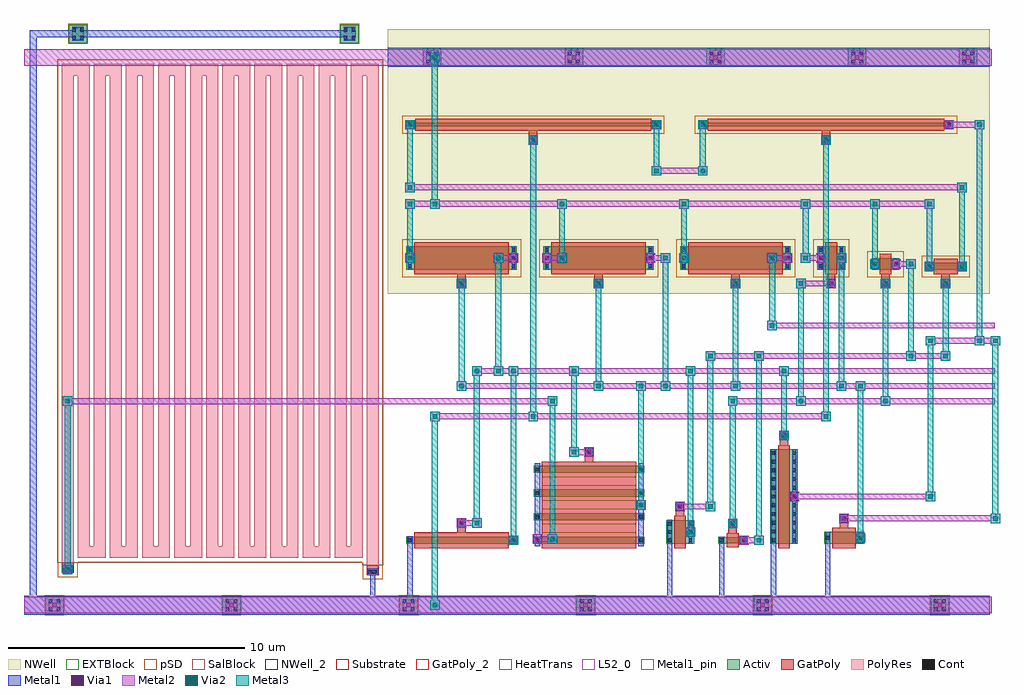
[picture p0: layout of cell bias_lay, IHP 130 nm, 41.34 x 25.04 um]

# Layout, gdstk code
import gdstk
lib = gdstk.Library(unit=1e-6, precision=1e-09)
def R(c, l, rs):  # rectangles x0, y0, x1, y1
    for r in rs: c.add(gdstk.rectangle(r[:2], r[2:], *l))
def A(c, l, x, y, w, h, nx, ny, dx, dy):  # array of equal rectangles
    R(c, l, [(x+i*dx, y+j*dy, x+i*dx+w, y+j*dy+h) for i in range(nx) for j in range(ny)])
Activ = (1, 0)
GatPoly = (5, 0)
GatPoly_2 = (5, 2)
Cont = (6, 0)
Metal1 = (8, 0)
Metal1_pin = (8, 2)
Metal2 = (10, 0)
pSD = (14, 0)
Via1 = (19, 0)
SalBlock = (28, 0)
Via2 = (29, 0)
Metal3 = (30, 0)
NWell = (31, 0)
NWell_2 = (31, 2)
Substrate = (40, 0)
HeatTrans = (51, 0)
L52_0 = (52, 0)
EXTBlock = (111, 0)
PolyRes = (128, 0)

rppd = lib.new_cell('rppd')
R(rppd, GatPoly, [(12.92,-0.53,13.42,-0.3), (0,-0.43,0.5,-0.2), (12.92,-0.3,13.42,-0.1), (0,-0.2,0.5,0)])
R(rppd, Cont, [(12.99,-0.46,13.35,-0.3), (0.07,-0.36,0.43,-0.2)])
R(rppd, Metal1, [(12.94,-0.53,13.4,-0.23), (0.02,-0.43,0.48,-0.13)])
R(rppd, Metal1_pin, [(12.94,-0.53,13.4,-0.23), (0.02,-0.43,0.48,-0.13)])
R(rppd, pSD, [(12.74,-0.71,13.6,-0.1), (-0.18,-0.61,0.68,0.02), (12.74,-0.1,13.6,0.02), (-0.18,0.02,13.6,21.305)])
R(rppd, SalBlock, [(12.72,-0.1,13.62,0), (-0.2,0,13.62,21.325)])
A(rppd, L52_0, 0.68, 0.2, 1.18, 0.5, 9, 1, 1.36, 0)
A(rppd, L52_0, 0.68, 0.7, 0.5, 19.925, 18, 1, 0.68, 0)
A(rppd, L52_0, 0, 20.625, 1.18, 0.5, 10, 1, 1.36, 0)
R(rppd, L52_0, [(12.92,-0.1,13.42,20.625), (0,0,0.5,20.625)])
R(rppd, EXTBlock, [(12.74,-0.71,13.6,-0.1), (-0.18,-0.61,0.68,0), (12.72,-0.1,13.62,0), (-0.2,0,13.62,21.325)])
A(rppd, PolyRes, 0.68, 0.2, 1.18, 0.5, 9, 1, 1.36, 0)
A(rppd, PolyRes, 0.68, 0.7, 0.5, 19.925, 18, 1, 0.68, 0)
A(rppd, PolyRes, 0, 20.625, 1.18, 0.5, 10, 1, 1.36, 0)
R(rppd, PolyRes, [(12.92,-0.1,13.42,20.625), (0,0,0.5,20.625)])
rppd.add(gdstk.Label('rppd r=212771.450', (0.25,9.963), layer=63, texttype=0))
rppd.add(gdstk.Label('rppd', (0.25,10.313), layer=52, texttype=0))
rppd.add(gdstk.Label('rppd', (0.59,20.875), layer=52, texttype=0))
rppd.add(gdstk.Label('rppd', (0.93,10.663), layer=52, texttype=0))
rppd.add(gdstk.Label('rppd', (1.27,0.45), layer=52, texttype=0))
rppd.add(gdstk.Label('rppd', (1.61,10.663), layer=52, texttype=0))
rppd.add(gdstk.Label('rppd', (1.95,20.875), layer=52, texttype=0))
rppd.add(gdstk.Label('rppd', (2.29,10.663), layer=52, texttype=0))
rppd.add(gdstk.Label('rppd', (2.63,0.45), layer=52, texttype=0))
rppd.add(gdstk.Label('rppd', (2.97,10.663), layer=52, texttype=0))
rppd.add(gdstk.Label('rppd', (3.31,20.875), layer=52, texttype=0))
rppd.add(gdstk.Label('rppd', (3.65,10.663), layer=52, texttype=0))
rppd.add(gdstk.Label('rppd', (3.99,0.45), layer=52, texttype=0))
rppd.add(gdstk.Label('rppd', (4.33,10.663), layer=52, texttype=0))
rppd.add(gdstk.Label('rppd', (4.67,20.875), layer=52, texttype=0))
rppd.add(gdstk.Label('rppd', (5.01,10.663), layer=52, texttype=0))
rppd.add(gdstk.Label('rppd', (5.35,0.45), layer=52, texttype=0))
rppd.add(gdstk.Label('rppd', (5.69,10.663), layer=52, texttype=0))
rppd.add(gdstk.Label('rppd', (6.03,20.875), layer=52, texttype=0))
rppd.add(gdstk.Label('rppd', (6.37,10.663), layer=52, texttype=0))
rppd.add(gdstk.Label('rppd', (6.71,0.45), layer=52, texttype=0))
rppd.add(gdstk.Label('rppd', (7.05,10.663), layer=52, texttype=0))
rppd.add(gdstk.Label('rppd', (7.39,20.875), layer=52, texttype=0))
rppd.add(gdstk.Label('rppd', (7.73,10.663), layer=52, texttype=0))
rppd.add(gdstk.Label('rppd', (8.07,0.45), layer=52, texttype=0))
rppd.add(gdstk.Label('rppd', (8.41,10.663), layer=52, texttype=0))
rppd.add(gdstk.Label('rppd', (8.75,20.875), layer=52, texttype=0))
rppd.add(gdstk.Label('rppd', (9.09,10.663), layer=52, texttype=0))
rppd.add(gdstk.Label('rppd', (9.43,0.45), layer=52, texttype=0))
rppd.add(gdstk.Label('rppd', (9.77,10.663), layer=52, texttype=0))
rppd.add(gdstk.Label('rppd', (10.11,20.875), layer=52, texttype=0))
rppd.add(gdstk.Label('rppd', (10.45,10.663), layer=52, texttype=0))
rppd.add(gdstk.Label('rppd', (10.79,0.45), layer=52, texttype=0))
rppd.add(gdstk.Label('rppd', (11.13,10.663), layer=52, texttype=0))
rppd.add(gdstk.Label('rppd', (11.47,20.875), layer=52, texttype=0))
rppd.add(gdstk.Label('rppd', (11.81,10.663), layer=52, texttype=0))
rppd.add(gdstk.Label('rppd', (12.15,0.45), layer=52, texttype=0))
rppd.add(gdstk.Label('rppd', (12.49,10.663), layer=52, texttype=0))
rppd.add(gdstk.Label('rppd', (12.83,20.875), layer=52, texttype=0))
rppd.add(gdstk.Label('rppd', (13.17,10.262), layer=52, texttype=0))

nmos = lib.new_cell('nmos')
R(nmos, Activ, [(0,0,0.3,0.3), (0,0,4.68,0.3), (4.38,0,4.68,0.3)])
R(nmos, GatPoly, [(0.34,-0.18,4.34,0.48)])
R(nmos, GatPoly_2, [(0.34,-0.18,4.34,0.48)])
R(nmos, Cont, [(0.07,0.07,0.23,0.23), (4.45,0.07,4.61,0.23)])
R(nmos, Metal1, [(0.07,0,0.23,0.3), (4.45,0,4.61,0.3)])
R(nmos, Metal1_pin, [(0.07,0,0.23,0.3), (4.45,0,4.61,0.3)])
R(nmos, HeatTrans, [(0.34,-0.18,4.34,0.48)])
nmos.add(gdstk.Label('nmos', (2.34,0.15), layer=63, texttype=0))
nmos.add(gdstk.Label('nmos', (2.34,0.15), layer=51, texttype=0))

nmos_1 = lib.new_cell('nmos$1')
R(nmos_1, Activ, [(0,0,0.3,0.3), (0,0,1.18,1), (0.88,0,1.18,0.3)])
R(nmos_1, GatPoly, [(0.34,-0.18,0.84,1.18)])
R(nmos_1, GatPoly_2, [(0.34,-0.18,0.84,1.18)])
A(nmos_1, Cont, 0.07, 0.07, 0.16, 0.16, 1, 3, 0, 0.35)
A(nmos_1, Cont, 0.95, 0.07, 0.16, 0.16, 1, 3, 0, 0.35)
R(nmos_1, Metal1, [(0.07,0,0.23,1), (0.95,0,1.11,1)])
R(nmos_1, Metal1_pin, [(0.07,0,0.23,1), (0.95,0,1.11,1)])
R(nmos_1, HeatTrans, [(0.34,-0.18,0.84,1.18)])
nmos_1.add(gdstk.Label('nmos', (0.59,0.5), layer=63, texttype=0))
nmos_1.add(gdstk.Label('nmos', (0.59,0.5), layer=51, texttype=0))

nmos_2 = lib.new_cell('nmos$2')
R(nmos_2, Activ, [(0,0,0.3,0.3), (0.94,0,1.24,0.3), (0,0.025,1.24,0.275)])
R(nmos_2, GatPoly, [(0.37,-0.155,0.87,0.455)])
R(nmos_2, GatPoly_2, [(0.37,-0.155,0.87,0.455)])
R(nmos_2, Cont, [(0.07,0.07,0.23,0.23), (1.01,0.07,1.17,0.23)])
R(nmos_2, Metal1, [(0.07,0.02,0.23,0.28), (1.01,0.02,1.17,0.28)])
R(nmos_2, Metal1_pin, [(0.07,0.02,0.23,0.28), (1.01,0.02,1.17,0.28)])
R(nmos_2, HeatTrans, [(0.37,-0.155,0.87,0.455)])
nmos_2.add(gdstk.Label('nmos', (0.62,0.15), layer=63, texttype=0))
nmos_2.add(gdstk.Label('nmos', (0.62,0.15), layer=51, texttype=0))

nmos_3 = lib.new_cell('nmos$3')
R(nmos_3, Activ, [(0,0,0.3,0.3), (0,0,1.18,4), (0.88,0,1.18,0.3)])
R(nmos_3, GatPoly, [(0.34,-0.18,0.84,4.18)])
R(nmos_3, GatPoly_2, [(0.34,-0.18,0.84,4.18)])
A(nmos_3, Cont, 0.07, 0.07, 0.16, 0.16, 1, 11, 0, 0.37)
A(nmos_3, Cont, 0.95, 0.07, 0.16, 0.16, 1, 11, 0, 0.37)
R(nmos_3, Metal1, [(0.07,0,0.23,4), (0.95,0,1.11,4)])
R(nmos_3, Metal1_pin, [(0.07,0,0.23,4), (0.95,0,1.11,4)])
R(nmos_3, HeatTrans, [(0.34,-0.18,0.84,4.18)])
nmos_3.add(gdstk.Label('nmos', (0.59,2), layer=63, texttype=0))
nmos_3.add(gdstk.Label('nmos', (0.59,2), layer=51, texttype=0))

nmos_4 = lib.new_cell('nmos$4')
R(nmos_4, Activ, [(0,0,0.3,0.3), (0,0,1.68,0.5), (1.38,0,1.68,0.3)])
R(nmos_4, GatPoly, [(0.34,-0.18,1.34,0.68)])
R(nmos_4, GatPoly_2, [(0.34,-0.18,1.34,0.68)])
R(nmos_4, Cont, [(0.07,0.17,0.23,0.33), (1.45,0.17,1.61,0.33)])
R(nmos_4, Metal1, [(0.07,0,0.23,0.5), (1.45,0,1.61,0.5)])
R(nmos_4, Metal1_pin, [(0.07,0,0.23,0.5), (1.45,0,1.61,0.5)])
R(nmos_4, HeatTrans, [(0.34,-0.18,1.34,0.68)])
nmos_4.add(gdstk.Label('nmos', (0.84,0.25), layer=63, texttype=0))
nmos_4.add(gdstk.Label('nmos', (0.84,0.25), layer=51, texttype=0))

pmos = lib.new_cell('pmos')
R(pmos, Activ, [(0,0,0.3,0.3), (0,0,4.68,1), (4.38,0,4.68,0.3)])
R(pmos, GatPoly, [(0.34,-0.18,4.34,1.18), (0.34,-0.18,4.34,1.18)])
A(pmos, Cont, 0.07, 0.07, 0.16, 0.16, 1, 3, 0, 0.35)
A(pmos, Cont, 4.45, 0.07, 0.16, 0.16, 1, 3, 0, 0.35)
R(pmos, Metal1, [(0.07,0,0.23,1), (0.07,0,0.23,1), (4.45,0,4.61,1), (4.45,0,4.61,1)])
R(pmos, pSD, [(-0.18,-0.3,4.86,1.3)])
R(pmos, NWell, [(-0.31,-0.31,4.99,1.31)])
R(pmos, HeatTrans, [(0.34,-0.18,4.34,1.18)])
pmos.add(gdstk.Label('pmos', (2.34,0.5), layer=63, texttype=0))
pmos.add(gdstk.Label('pmos', (2.34,0.5), layer=51, texttype=0))

pmos_1 = lib.new_cell('pmos$1')
R(pmos_1, Activ, [(0,0,0.3,0.3), (0,0,1.18,1), (0.88,0,1.18,0.3)])
R(pmos_1, GatPoly, [(0.34,-0.18,0.84,1.18), (0.34,-0.18,0.84,1.18)])
A(pmos_1, Cont, 0.07, 0.07, 0.16, 0.16, 1, 3, 0, 0.35)
A(pmos_1, Cont, 0.95, 0.07, 0.16, 0.16, 1, 3, 0, 0.35)
R(pmos_1, Metal1, [(0.07,0,0.23,1), (0.07,0,0.23,1), (0.95,0,1.11,1), (0.95,0,1.11,1)])
R(pmos_1, pSD, [(-0.18,-0.3,1.36,1.3)])
R(pmos_1, NWell, [(-0.31,-0.31,1.49,1.31)])
R(pmos_1, HeatTrans, [(0.34,-0.18,0.84,1.18)])
pmos_1.add(gdstk.Label('pmos', (0.59,0.5), layer=63, texttype=0))
pmos_1.add(gdstk.Label('pmos', (0.59,0.5), layer=51, texttype=0))

pmos_2 = lib.new_cell('pmos$2')
R(pmos_2, Activ, [(0,0,0.3,0.3), (0,0,1.18,0.5), (0.88,0,1.18,0.3)])
R(pmos_2, GatPoly, [(0.34,-0.18,0.84,0.68), (0.34,-0.18,0.84,0.68)])
R(pmos_2, Cont, [(0.07,0.17,0.23,0.33), (0.95,0.17,1.11,0.33)])
R(pmos_2, Metal1, [(0.07,0,0.23,0.5), (0.07,0,0.23,0.5), (0.95,0,1.11,0.5), (0.95,0,1.11,0.5)])
R(pmos_2, pSD, [(-0.18,-0.3,1.36,0.8)])
R(pmos_2, NWell, [(-0.31,-0.31,1.49,0.81)])
R(pmos_2, HeatTrans, [(0.34,-0.18,0.84,0.68)])
pmos_2.add(gdstk.Label('pmos', (0.59,0.25), layer=63, texttype=0))
pmos_2.add(gdstk.Label('pmos', (0.59,0.25), layer=51, texttype=0))

pmos_3 = lib.new_cell('pmos$3')
R(pmos_3, Activ, [(0,0,0.3,0.3), (0,0,1.68,0.3), (1.38,0,1.68,0.3)])
R(pmos_3, GatPoly, [(0.34,-0.18,1.34,0.48), (0.34,-0.18,1.34,0.48)])
R(pmos_3, Cont, [(0.07,0.07,0.23,0.23), (1.45,0.07,1.61,0.23)])
R(pmos_3, Metal1, [(0.07,0,0.23,0.3), (0.07,0,0.23,0.3), (1.45,0,1.61,0.3), (1.45,0,1.61,0.3)])
R(pmos_3, pSD, [(-0.18,-0.3,1.86,0.6)])
R(pmos_3, NWell, [(-0.31,-0.31,1.99,0.61)])
R(pmos_3, HeatTrans, [(0.34,-0.18,1.34,0.48)])
pmos_3.add(gdstk.Label('pmos', (0.84,0.15), layer=63, texttype=0))
pmos_3.add(gdstk.Label('pmos', (0.84,0.15), layer=51, texttype=0))

pmos_4 = lib.new_cell('pmos$4')
R(pmos_4, Activ, [(0,0,0.3,0.3), (10.44,0,10.74,0.3), (0,0.075,10.74,0.225)])
R(pmos_4, GatPoly, [(0.37,-0.105,10.37,0.405), (0.37,-0.105,10.37,0.405)])
R(pmos_4, Cont, [(0.07,0.07,0.23,0.23), (10.51,0.07,10.67,0.23)])
R(pmos_4, Metal1, [(0.07,0.02,0.23,0.28), (0.07,0.02,0.23,0.28), (10.51,0.02,10.67,0.28), (10.51,0.02,10.67,0.28)])
R(pmos_4, pSD, [(-0.18,-0.225,10.92,0.525)])
R(pmos_4, NWell, [(-0.31,-0.31,11.05,0.61)])
R(pmos_4, HeatTrans, [(0.37,-0.105,10.37,0.405)])
pmos_4.add(gdstk.Label('pmos', (5.37,0.15), layer=63, texttype=0))
pmos_4.add(gdstk.Label('pmos', (5.37,0.15), layer=51, texttype=0))

ntap1 = lib.new_cell('ntap1')
R(ntap1, Activ, [(0,0,0.78,0.78)])
R(ntap1, Cont, [(0.14,0.14,0.3,0.3), (0.48,0.14,0.64,0.3), (0.14,0.48,0.3,0.64), (0.48,0.48,0.64,0.64)])
R(ntap1, Metal1, [(0.14,0.09,0.64,0.69)])
R(ntap1, Metal1_pin, [(0.14,0.09,0.64,0.69), (0.14,0.14,0.64,0.64)])
R(ntap1, NWell, [(-0.24,-0.24,1.02,1.02), (0,0,0.78,0.78)])
R(ntap1, NWell_2, [(0,0,0.78,0.78)])
ntap1.add(gdstk.Label('well', (0.39,0.01), layer=63, texttype=0))
ntap1.add(gdstk.Label('well', (0.39,0.01), layer=31, texttype=0))

ptap1 = lib.new_cell('ptap1')
R(ptap1, Activ, [(0,0,0.78,0.78)])
R(ptap1, Cont, [(0.14,0.14,0.3,0.3), (0.48,0.14,0.64,0.3), (0.14,0.48,0.3,0.64), (0.48,0.48,0.64,0.64)])
R(ptap1, Metal1, [(0.14,0.09,0.64,0.69), (0.14,0.14,0.64,0.64)])
R(ptap1, Metal1_pin, [(0.14,0.14,0.64,0.64)])
R(ptap1, pSD, [(-0.03,-0.03,0.81,0.81)])
R(ptap1, Substrate, [(0,0,0.78,0.78)])
ptap1.add(gdstk.Label('sub!', (0.39,0.01), layer=63, texttype=0))
ptap1.add(gdstk.Label('sub!', (0.39,0.01), layer=40, texttype=0))

bias_lay = lib.new_cell('bias_lay')
A(bias_lay, GatPoly, 18.96, 14.04, 0.36, 0.36, 3, 1, 5.8, 0)
A(bias_lay, GatPoly, 18.96, 14.22, 0.36, 0.45, 3, 1, 5.8, 0)
R(bias_lay, GatPoly, [(22.54,3.02,26.54,6.68), (30.44,3.605,30.8,4.055), (18.96,3.63,19.32,4.08), (35.16,3.83,35.52,4.28), (30.44,3.875,30.8,4.235), (18.96,3.9,19.32,4.26), (35.16,4.1,35.52,4.46), (28.21,4.33,28.57,4.78), (28.21,4.6,28.57,4.96), (24.36,6.63,24.72,7.08), (24.36,6.9,24.72,7.26), (32.61,7.33,32.97,7.78), (32.61,7.6,32.97,7.96), (34.61,14.04,34.97,14.4), (36.91,14.04,37.27,14.4), (39.46,14.04,39.82,14.4), (34.61,14.22,34.97,14.67), (36.91,14.22,37.27,14.67), (39.46,14.22,39.82,14.67), (21.99,20.115,22.35,20.475), (34.39,20.115,34.75,20.475), (21.99,20.295,22.35,20.745), (34.39,20.295,34.75,20.745)])
A(bias_lay, Cont, 19.06, 14.14, 0.16, 0.16, 3, 1, 5.8, 0)
R(bias_lay, Cont, [(30.54,3.975,30.7,4.135), (19.06,4,19.22,4.16), (35.26,4.2,35.42,4.36), (28.31,4.7,28.47,4.86), (24.46,7,24.62,7.16), (32.71,7.7,32.87,7.86), (34.71,14.14,34.87,14.3), (37.01,14.14,37.17,14.3), (39.56,14.14,39.72,14.3), (22.09,20.215,22.25,20.375), (34.49,20.215,34.65,20.375)])
A(bias_lay, Metal1, 1.73, 0.44, 0.32, 0.32, 6, 1, 7.5, 0)
A(bias_lay, Metal1, 17.73, 23.64, 0.32, 0.32, 4, 1, 6, 0)
R(bias_lay, Metal1, [(0.6,0.2,41.5,1), (0.85,0.45,1.15,24.95), (15.26,0.49,15.48,2.13), (16.84,0.49,17.06,3.51), (27.84,0.49,28.06,4.21), (30.04,0.49,30.26,3.49), (32.24,0.49,32.46,7.21), (34.54,0.49,34.76,3.71), (2.29,1.96,2.61,2.28), (22.24,3.09,22.46,6.61), (26.62,3.09,26.84,6.61), (21.17,3.19,21.49,3.51), (30.93,3.19,31.25,3.51), (22.19,3.24,22.51,3.56), (35.87,3.29,36.19,3.61), (28.67,3.54,28.99,3.86), (30.46,3.895,30.78,4.215), (30.46,3.895,30.78,4.215), (18.98,3.92,19.3,4.24), (18.98,3.92,19.3,4.24), (35.18,4.12,35.5,4.44), (35.18,4.12,35.5,4.44), (28.23,4.62,28.55,4.94), (28.23,4.62,28.55,4.94), (26.57,4.69,26.89,5.01), (33.07,5.04,33.39,5.36), (24.38,6.92,24.7,7.24), (24.38,6.92,24.7,7.24), (32.63,7.62,32.95,7.94), (32.63,7.62,32.95,7.94), (18.98,14.06,19.3,14.38), (18.98,14.06,19.3,14.38), (24.78,14.06,25.1,14.38), (24.78,14.06,25.1,14.38), (30.58,14.06,30.9,14.38), (30.58,14.06,30.9,14.38), (34.63,14.06,34.95,14.38), (34.63,14.06,34.95,14.38), (36.93,14.06,37.25,14.38), (36.93,14.06,37.25,14.38), (39.48,14.06,39.8,14.38), (39.48,14.06,39.8,14.38), (38.79,14.79,39.11,15.11), (40.17,14.79,40.49,15.11), (36.49,14.89,36.81,15.21), (37.37,14.89,37.69,15.21), (16.79,15.14,17.11,15.46), (21.17,15.14,21.49,15.46), (22.59,15.14,22.91,15.46), (26.97,15.14,27.29,15.46), (28.39,15.14,28.71,15.46), (32.77,15.14,33.09,15.46), (34.19,15.14,34.51,15.46), (35.07,15.14,35.39,15.46), (22.01,20.135,22.33,20.455), (22.01,20.135,22.33,20.455), (34.41,20.135,34.73,20.455), (34.41,20.135,34.73,20.455), (16.79,20.79,17.11,21.11), (27.23,20.79,27.55,21.11), (29.19,20.79,29.51,21.11), (39.63,20.79,39.95,21.11), (16,23.4,41.5,24.2), (40.43,23.64,40.75,23.96), (0.85,24.65,14.65,24.95)])
A(bias_lay, Metal2, 1.69, 0.4, 0.4, 0.4, 3, 1, 7.5, 0)
A(bias_lay, Metal2, 24.19, 0.4, 0.4, 0.4, 3, 1, 7.5, 0)
A(bias_lay, Metal2, 23.19, 17.4, 0.4, 0.4, 3, 1, 5.16, 0)
A(bias_lay, Metal2, 23.69, 23.6, 0.4, 0.4, 3, 1, 6, 0)
R(bias_lay, Metal2, [(0.6,0.25,41.6,0.95), (17.8,0.4,18.2,0.8), (2.25,1.92,2.65,2.32), (2.25,1.92,2.65,2.32), (21.13,3.15,21.53,3.55), (21.13,3.15,21.53,3.55), (30.89,3.15,31.29,3.55), (31.53,3.15,31.93,3.55), (22.15,3.2,22.55,3.6), (22.79,3.2,23.19,3.6), (30.97,3.23,31.85,3.47), (35.83,3.25,36.23,3.65), (35.83,3.25,36.23,3.65), (22.23,3.28,23.11,3.52), (28.63,3.5,29.03,3.9), (28.63,3.5,29.03,3.9), (30.42,3.855,30.82,4.255), (30.42,3.855,30.82,4.255), (18.94,3.88,19.34,4.28), (19.58,3.88,19.98,4.28), (19.02,3.96,19.9,4.2), (35.14,4.08,35.54,4.48), (41.54,4.08,41.94,4.48), (35.22,4.16,41.86,4.4), (28.19,4.58,28.59,4.98), (29.47,4.58,29.87,4.98), (26.53,4.65,26.93,5.05), (26.53,4.65,26.93,5.05), (28.27,4.66,29.79,4.9), (33.03,5,33.43,5.4), (38.79,5,39.19,5.4), (33.11,5.08,39.11,5.32), (23.7,6.88,24.1,7.28), (24.34,6.88,24.74,7.28), (23.78,6.96,24.66,7.2), (32.59,7.58,32.99,7.98), (32.59,7.58,32.99,7.98), (17.8,8.4,18.2,8.8), (21.97,8.4,22.37,8.8), (34.37,8.4,34.77,8.8), (17.88,8.48,34.69,8.72), (2.25,9.04,2.65,9.44), (22.79,9.04,23.19,9.44), (30.42,9.04,30.82,9.44), (33.31,9.04,33.71,9.44), (36.89,9.04,37.29,9.44), (2.33,9.12,23.11,9.36), (30.5,9.12,41.72,9.36), (18.94,9.68,19.34,10.08), (24.74,9.68,25.14,10.08), (26.53,9.68,26.93,10.08), (27.57,9.68,27.97,10.08), (30.54,9.68,30.94,10.08), (35.03,9.68,35.43,10.08), (35.83,9.68,36.23,10.08), (19.02,9.76,41.72,10), (19.58,10.32,19.98,10.72), (20.49,10.32,20.89,10.72), (21.13,10.32,21.53,10.72), (23.7,10.32,24.1,10.72), (28.63,10.32,29.03,10.72), (32.59,10.32,32.99,10.72), (19.66,10.4,41.72,10.64), (29.47,10.96,29.87,11.36), (31.53,10.96,31.93,11.36), (37.97,10.96,38.37,11.36), (39.44,10.96,39.84,11.36), (29.55,11.04,39.76,11.28), (38.79,11.6,39.19,12), (40.87,11.6,41.27,12), (41.54,11.6,41.94,12), (38.87,11.68,41.86,11.92), (32.09,12.24,32.49,12.64), (32.17,12.32,41.72,12.56), (18.94,14.02,19.34,14.42), (18.94,14.02,19.34,14.42), (24.74,14.02,25.14,14.42), (24.74,14.02,25.14,14.42), (30.54,14.02,30.94,14.42), (30.54,14.02,30.94,14.42), (33.31,14.02,33.71,14.42), (34.59,14.02,34.99,14.42), (36.89,14.02,37.29,14.42), (36.89,14.02,37.29,14.42), (39.44,14.02,39.84,14.42), (39.44,14.02,39.84,14.42), (33.39,14.1,34.91,14.34), (38.75,14.75,39.15,15.15), (38.75,14.75,39.15,15.15), (40.13,14.75,40.53,15.15), (40.13,14.75,40.53,15.15), (36.45,14.85,36.85,15.25), (36.45,14.85,36.85,15.25), (37.33,14.85,37.73,15.25), (37.97,14.85,38.37,15.25), (37.41,14.93,38.29,15.17), (16.75,15.1,17.15,15.5), (16.75,15.1,17.15,15.5), (20.49,15.1,20.89,15.5), (21.13,15.1,21.53,15.5), (22.55,15.1,22.95,15.5), (23.19,15.1,23.59,15.5), (26.93,15.1,27.33,15.5), (27.57,15.1,27.97,15.5), (28.35,15.1,28.75,15.5), (28.35,15.1,28.75,15.5), (32.09,15.1,32.49,15.5), (32.73,15.1,33.13,15.5), (33.51,15.1,33.91,15.5), (34.15,15.1,34.55,15.5), (35.03,15.1,35.43,15.5), (35.03,15.1,35.43,15.5), (20.57,15.18,21.45,15.42), (22.63,15.18,23.51,15.42), (27.01,15.18,27.89,15.42), (32.17,15.18,33.05,15.42), (33.59,15.18,34.47,15.42), (16.75,17.4,17.15,17.8), (17.8,17.4,18.2,17.8), (36.45,17.4,36.85,17.8), (38.75,17.4,39.15,17.8), (16.83,17.48,39.07,17.72), (16.75,18.1,17.15,18.5), (40.13,18.1,40.53,18.5), (16.83,18.18,40.45,18.42), (27.19,18.8,27.59,19.2), (29.15,18.8,29.55,19.2), (27.27,18.88,29.47,19.12), (21.97,20.095,22.37,20.495), (21.97,20.095,22.37,20.495), (34.37,20.095,34.77,20.495), (34.37,20.095,34.77,20.495), (16.75,20.75,17.15,21.15), (16.75,20.75,17.15,21.15), (27.19,20.75,27.59,21.15), (27.19,20.75,27.59,21.15), (29.15,20.75,29.55,21.15), (29.15,20.75,29.55,21.15), (39.59,20.75,39.99,21.15), (40.87,20.75,41.27,21.15), (39.67,20.83,41.19,21.07), (0.6,23.45,41.6,24.15), (17.69,23.6,18.09,24), (17.8,23.6,18.2,24), (40.39,23.6,40.79,24)])
A(bias_lay, Via1, 1.795, 0.505, 0.19, 0.19, 6, 1, 7.5, 0)
A(bias_lay, Via1, 19.045, 14.125, 0.19, 0.19, 3, 1, 5.8, 0)
A(bias_lay, Via1, 17.795, 23.705, 0.19, 0.19, 4, 1, 6, 0)
R(bias_lay, Via1, [(2.355,2.025,2.545,2.215), (21.235,3.255,21.425,3.445), (30.995,3.255,31.185,3.445), (22.255,3.305,22.445,3.495), (35.935,3.355,36.125,3.545), (28.735,3.605,28.925,3.795), (30.525,3.96,30.715,4.15), (19.045,3.985,19.235,4.175), (35.245,4.185,35.435,4.375), (28.295,4.685,28.485,4.875), (26.635,4.755,26.825,4.945), (33.135,5.105,33.325,5.295), (24.445,6.985,24.635,7.175), (32.695,7.685,32.885,7.875), (34.695,14.125,34.885,14.315), (36.995,14.125,37.185,14.315), (39.545,14.125,39.735,14.315), (38.855,14.855,39.045,15.045), (40.235,14.855,40.425,15.045), (36.555,14.955,36.745,15.145), (37.435,14.955,37.625,15.145), (16.855,15.205,17.045,15.395), (21.235,15.205,21.425,15.395), (22.655,15.205,22.845,15.395), (27.035,15.205,27.225,15.395), (28.455,15.205,28.645,15.395), (32.835,15.205,33.025,15.395), (34.255,15.205,34.445,15.395), (35.135,15.205,35.325,15.395), (22.075,20.2,22.265,20.39), (34.475,20.2,34.665,20.39), (16.855,20.855,17.045,21.045), (27.295,20.855,27.485,21.045), (29.255,20.855,29.445,21.045), (39.695,20.855,39.885,21.045), (40.495,23.705,40.685,23.895)])
A(bias_lay, Via2, 19.045, 14.125, 0.19, 0.19, 3, 1, 5.8, 0)
A(bias_lay, Via2, 23.295, 17.505, 0.19, 0.19, 3, 1, 5.16, 0)
R(bias_lay, Via2, [(17.905,0.505,18.095,0.695), (2.355,2.025,2.545,2.215), (21.235,3.255,21.425,3.445), (31.635,3.255,31.825,3.445), (22.895,3.305,23.085,3.495), (35.935,3.355,36.125,3.545), (28.735,3.605,28.925,3.795), (30.525,3.96,30.715,4.15), (19.685,3.985,19.875,4.175), (41.645,4.185,41.835,4.375), (29.575,4.685,29.765,4.875), (26.635,4.755,26.825,4.945), (38.895,5.105,39.085,5.295), (23.805,6.985,23.995,7.175), (32.695,7.685,32.885,7.875), (17.905,8.505,18.095,8.695), (22.075,8.505,22.265,8.695), (34.475,8.505,34.665,8.695), (2.355,9.145,2.545,9.335), (22.895,9.145,23.085,9.335), (30.525,9.145,30.715,9.335), (33.415,9.145,33.605,9.335), (36.995,9.145,37.185,9.335), (19.045,9.785,19.235,9.975), (24.845,9.785,25.035,9.975), (26.635,9.785,26.825,9.975), (27.675,9.785,27.865,9.975), (30.645,9.785,30.835,9.975), (35.135,9.785,35.325,9.975), (35.935,9.785,36.125,9.975), (19.685,10.425,19.875,10.615), (20.595,10.425,20.785,10.615), (21.235,10.425,21.425,10.615), (23.805,10.425,23.995,10.615), (28.735,10.425,28.925,10.615), (32.695,10.425,32.885,10.615), (29.575,11.065,29.765,11.255), (31.635,11.065,31.825,11.255), (38.075,11.065,38.265,11.255), (39.545,11.065,39.735,11.255), (38.895,11.705,39.085,11.895), (40.975,11.705,41.165,11.895), (41.645,11.705,41.835,11.895), (32.195,12.345,32.385,12.535), (33.415,14.125,33.605,14.315), (36.995,14.125,37.185,14.315), (39.545,14.125,39.735,14.315), (38.855,14.855,39.045,15.045), (40.235,14.855,40.425,15.045), (36.555,14.955,36.745,15.145), (38.075,14.955,38.265,15.145), (16.855,15.205,17.045,15.395), (20.595,15.205,20.785,15.395), (23.295,15.205,23.485,15.395), (27.675,15.205,27.865,15.395), (28.455,15.205,28.645,15.395), (32.195,15.205,32.385,15.395), (33.615,15.205,33.805,15.395), (35.135,15.205,35.325,15.395), (16.855,17.505,17.045,17.695), (17.905,17.505,18.095,17.695), (36.555,17.505,36.745,17.695), (38.855,17.505,39.045,17.695), (16.855,18.205,17.045,18.395), (40.235,18.205,40.425,18.395), (27.295,18.905,27.485,19.095), (29.255,18.905,29.445,19.095), (22.075,20.2,22.265,20.39), (34.475,20.2,34.665,20.39), (16.855,20.855,17.045,21.045), (27.295,20.855,27.485,21.045), (29.255,20.855,29.445,21.045), (40.975,20.855,41.165,21.045), (17.905,23.705,18.095,23.895)])
A(bias_lay, Metal3, 19.02, 9.76, 0.24, 4.58, 3, 1, 5.8, 0)
A(bias_lay, Metal3, 18.94, 14.02, 0.4, 0.4, 3, 1, 5.8, 0)
A(bias_lay, Metal3, 23.27, 15.18, 0.24, 2.54, 3, 1, 5.16, 0)
A(bias_lay, Metal3, 23.19, 17.4, 0.4, 0.4, 3, 1, 5.16, 0)
R(bias_lay, Metal3, [(17.8,0.4,18.2,0.8), (17.88,0.48,18.12,8.72), (2.25,1.92,2.65,2.32), (2.33,2,2.57,9.36), (21.13,3.15,21.53,3.55), (31.53,3.15,31.93,3.55), (22.79,3.2,23.19,3.6), (21.21,3.23,21.45,10.64), (31.61,3.23,31.85,11.28), (35.83,3.25,36.23,3.65), (22.87,3.28,23.11,9.36), (35.91,3.33,36.15,10), (28.63,3.5,29.03,3.9), (28.71,3.58,28.95,10.64), (30.42,3.855,30.82,4.255), (19.58,3.88,19.98,4.28), (30.5,3.935,30.74,9.36), (19.66,3.96,19.9,10.64), (41.54,4.08,41.94,4.48), (41.62,4.16,41.86,11.92), (29.47,4.58,29.87,4.98), (26.53,4.65,26.93,5.05), (29.55,4.66,29.79,11.28), (26.61,4.73,26.85,10), (38.79,5,39.19,5.4), (38.87,5.08,39.11,11.92), (23.7,6.88,24.1,7.28), (23.78,6.96,24.02,10.64), (32.59,7.58,32.99,7.98), (32.67,7.66,32.91,10.64), (17.8,8.4,18.2,8.8), (21.97,8.4,22.37,8.8), (34.37,8.4,34.77,8.8), (22.05,8.48,22.29,20.415), (34.45,8.48,34.69,20.415), (2.25,9.04,2.65,9.44), (22.79,9.04,23.19,9.44), (30.42,9.04,30.82,9.44), (33.31,9.04,33.71,9.44), (36.89,9.04,37.29,9.44), (33.39,9.12,33.63,14.34), (36.97,9.12,37.21,14.34), (18.94,9.68,19.34,10.08), (24.74,9.68,25.14,10.08), (26.53,9.68,26.93,10.08), (27.57,9.68,27.97,10.08), (30.54,9.68,30.94,10.08), (35.03,9.68,35.43,10.08), (35.83,9.68,36.23,10.08), (27.65,9.76,27.89,15.42), (35.11,9.76,35.35,15.42), (19.58,10.32,19.98,10.72), (20.49,10.32,20.89,10.72), (21.13,10.32,21.53,10.72), (23.7,10.32,24.1,10.72), (28.63,10.32,29.03,10.72), (32.59,10.32,32.99,10.72), (20.57,10.4,20.81,15.42), (29.47,10.96,29.87,11.36), (31.53,10.96,31.93,11.36), (37.97,10.96,38.37,11.36), (39.44,10.96,39.84,11.36), (38.05,11.04,38.29,15.17), (39.52,11.04,39.76,14.34), (38.79,11.6,39.19,12), (40.87,11.6,41.27,12), (41.54,11.6,41.94,12), (40.95,11.68,41.19,21.07), (32.09,12.24,32.49,12.64), (32.17,12.32,32.41,15.42), (33.31,14.02,33.71,14.42), (36.89,14.02,37.29,14.42), (39.44,14.02,39.84,14.42), (38.75,14.75,39.15,15.15), (40.13,14.75,40.53,15.15), (38.83,14.83,39.07,17.72), (40.21,14.83,40.45,18.42), (36.45,14.85,36.85,15.25), (37.97,14.85,38.37,15.25), (36.53,14.93,36.77,17.72), (16.75,15.1,17.15,15.5), (20.49,15.1,20.89,15.5), (23.19,15.1,23.59,15.5), (27.57,15.1,27.97,15.5), (28.35,15.1,28.75,15.5), (32.09,15.1,32.49,15.5), (33.51,15.1,33.91,15.5), (35.03,15.1,35.43,15.5), (16.83,15.18,17.07,17.72), (16.75,17.4,17.15,17.8), (17.8,17.4,18.2,17.8), (36.45,17.4,36.85,17.8), (38.75,17.4,39.15,17.8), (17.88,17.48,18.12,23.92), (16.75,18.1,17.15,18.5), (40.13,18.1,40.53,18.5), (16.83,18.18,17.07,21.07), (27.19,18.8,27.59,19.2), (29.15,18.8,29.55,19.2), (27.27,18.88,27.51,21.07), (29.23,18.88,29.47,21.07), (21.97,20.095,22.37,20.495), (34.37,20.095,34.77,20.495), (16.75,20.75,17.15,21.15), (27.19,20.75,27.59,21.15), (29.15,20.75,29.55,21.15), (40.87,20.75,41.27,21.15), (17.8,23.6,18.2,24)])
R(bias_lay, NWell, [(16,13.8,41.5,25)])
bias_lay.add(gdstk.Reference(rppd, (2.2,2.4)))
bias_lay.add(gdstk.Reference(nmos, (16.8,3.2)))
bias_lay.add(gdstk.Reference(nmos, (22.2,3.2)))
bias_lay.add(gdstk.Reference(nmos, (22.2,4.2)))
bias_lay.add(gdstk.Reference(nmos, (22.2,5.2)))
bias_lay.add(gdstk.Reference(nmos, (22.2,6.2)))
bias_lay.add(gdstk.Reference(nmos_1, (27.8,3.2)))
bias_lay.add(gdstk.Reference(nmos_2, (30,3.2)))
bias_lay.add(gdstk.Reference(nmos_3, (32.2,3.2)))
bias_lay.add(gdstk.Reference(nmos_4, (34.5,3.2)))
bias_lay.add(gdstk.Reference(pmos, (16.8,14.8)))
bias_lay.add(gdstk.Reference(pmos, (22.6,14.8)))
bias_lay.add(gdstk.Reference(pmos, (28.4,14.8)))
bias_lay.add(gdstk.Reference(pmos_1, (34.2,14.8)))
bias_lay.add(gdstk.Reference(pmos_2, (36.5,14.8)))
bias_lay.add(gdstk.Reference(pmos_3, (38.8,14.8)))
bias_lay.add(gdstk.Reference(pmos_4, (16.8,20.8)))
bias_lay.add(gdstk.Reference(pmos_4, (29.2,20.8)))
bias_lay.add(gdstk.Reference(ntap1, (17.5,23.41)))
bias_lay.add(gdstk.Reference(ntap1, (23.5,23.41)))
bias_lay.add(gdstk.Reference(ntap1, (29.5,23.41)))
bias_lay.add(gdstk.Reference(ntap1, (35.5,23.41)))
bias_lay.add(gdstk.Reference(ntap1, (40.2,23.41)))
bias_lay.add(gdstk.Reference(ptap1, (1.5,0.21)))
bias_lay.add(gdstk.Reference(ptap1, (9,0.21)))
bias_lay.add(gdstk.Reference(ptap1, (16.5,0.21)))
bias_lay.add(gdstk.Reference(ptap1, (24,0.21)))
bias_lay.add(gdstk.Reference(ptap1, (31.5,0.21)))
bias_lay.add(gdstk.Reference(ptap1, (39,0.21)))
bias_lay.add(gdstk.Reference(ptap1, (2.5,24.41)))
bias_lay.add(gdstk.Reference(ptap1, (14,24.41)))

lib.write_gds('bias_lay.gds')
